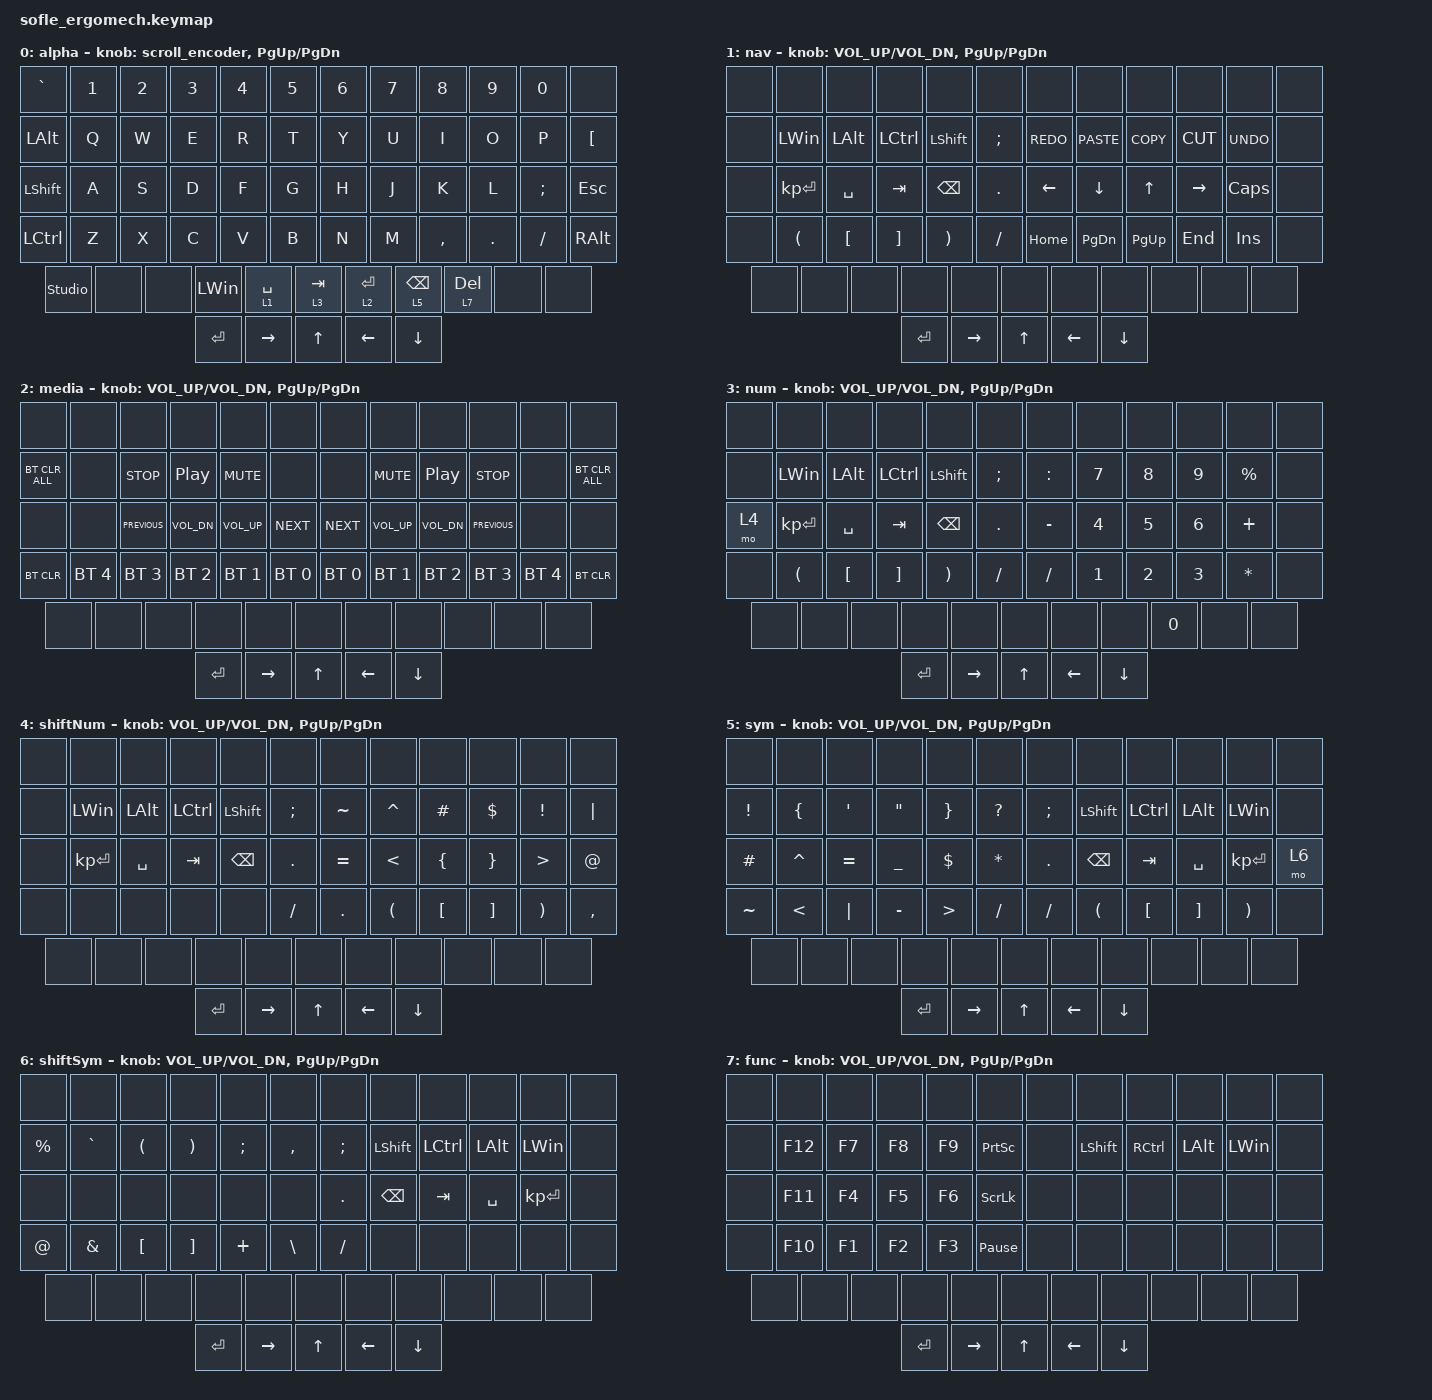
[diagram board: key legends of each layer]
/*
 * Copyright (c) 2020 The ZMK Contributors
 *
 * SPDX-License-Identifier: MIT
 * 
 */

#define ZMK_POINTING_DEFAULT_SCRL_VAL 100
#include <behaviors.dtsi>
#include <dt-bindings/zmk/bt.h>
#include <dt-bindings/zmk/ext_power.h>
#include <dt-bindings/zmk/keys.h>
#include <dt-bindings/zmk/rgb.h>
#include <dt-bindings/zmk/pointing.h>

&msc {
    time-to-max-speed-ms = <40>;
    acceleration-exponent = <0>;
};

/ {
    behaviors {
        scroll_encoder: scroll_encoder {
            compatible = "zmk,behavior-sensor-rotate";
            #sensor-binding-cells = <0>;
            bindings = <&msc SCRL_UP>, <&msc SCRL_DOWN>;
            tap-ms = <30>;
        };
    };
    keymap {
        compatible = "zmk,keymap";
        alpha {
            bindings = <
&kp GRAVE   &kp N1    &kp N2    &kp N3     &kp N4     &kp N5          &kp N6     &kp N7     &kp N8        &kp N9    &kp N0    &none
&kp LEFT_ALT    &kp Q  &kp W  &kp E         &kp R        &kp T        &kp Y        &kp U            &kp I         &kp O    &kp P     &kp LEFT_BRACKET
&kp LEFT_SHIFT  &kp A  &kp S  &kp D         &kp F        &kp G        &kp H        &kp J            &kp K         &kp L    &kp SEMI  &kp ESCAPE
&kp LCTRL       &kp Z  &kp X  &kp C         &kp V        &kp B        &kp N        &kp M            &kp COMMA     &kp DOT  &kp FSLH  &kp RIGHT_ALT
&studio_unlock  &none &none &kp LEFT_WIN  &lt 1 SPACE  &lt 3 TAB      &lt 2 ENTER  &lt 5 BACKSPACE  &lt 7 DELETE  &none &none
                                                                      &kp ENTER  &kp RIGHT  &kp UP_ARROW  &kp LEFT  &kp DOWN
            >;
            sensor-bindings = <&scroll_encoder &inc_dec_kp PG_UP PG_DN>;
        };
        nav {
            bindings = <
&none     &none     &none     &none    &none    &none     &none     &none    &none     &none     &none   &none
&none  &kp LEFT_WIN          &kp LEFT_ALT      &kp LCTRL          &kp LEFT_SHIFT         &kp SEMICOLON    &kp K_REDO  &kp K_PASTE     &kp K_COPY    &kp K_CUT        &kp K_UNDO    &none
&none  &kp KP_ENTER          &kp SPACE         &kp TAB            &kp BACKSPACE          &kp PERIOD       &kp LEFT    &kp DOWN_ARROW  &kp UP_ARROW  &kp RIGHT_ARROW  &kp CAPSLOCK  &none
&none  &kp LEFT_PARENTHESIS  &kp LEFT_BRACKET  &kp RIGHT_BRACKET  &kp RIGHT_PARENTHESIS  &kp SLASH        &kp HOME    &kp PAGE_DOWN   &kp PAGE_UP   &kp END          &kp INSERT    &none
&none &none     &none     &none     &none    &none    &none     &none     &none    &none     &none     
                                                &kp ENTER  &kp RIGHT  &kp UP_ARROW  &kp LEFT  &kp DOWN
            >;
            sensor-bindings = <&inc_dec_kp C_VOL_UP C_VOL_DN &inc_dec_kp PG_UP PG_DN>;
        };
        media {
            bindings = <
&none  &none  &none &none  &none  &none  &none     &none &none &none &none &none
&bt BT_CLR_ALL  &none         &kp C_STOP      &kp C_PLAY_PAUSE  &kp C_MUTE       &none           &none         &kp C_MUTE    &kp C_PLAY_PAUSE  &kp C_STOP      &none         &bt BT_CLR_ALL
&none           &none         &kp C_PREVIOUS  &kp C_VOL_DN      &kp C_VOLUME_UP  &kp C_NEXT      &kp C_NEXT    &kp C_VOLUME_UP  &kp C_VOL_DN   &kp C_PREVIOUS  &none         &none
&bt BT_CLR      &bt BT_SEL 4  &bt BT_SEL 3    &bt BT_SEL 2      &bt BT_SEL 1     &bt BT_SEL 0    &bt BT_SEL 0  &bt BT_SEL 1  &bt BT_SEL 2      &bt BT_SEL 3    &bt BT_SEL 4  &bt BT_CLR
&none &none &none &none &none &none &none &none &none &none &none
                  &kp ENTER  &kp RIGHT  &kp UP_ARROW  &kp LEFT  &kp DOWN
            >;
            sensor-bindings = <&inc_dec_kp C_VOL_UP C_VOL_DN &inc_dec_kp PG_UP PG_DN>;
        };
        num {
            bindings = <
&none &none &none &none &none &none &none &none &none &none &none &none
&none  &kp LEFT_WIN          &kp LEFT_ALT      &kp LCTRL          &kp LEFT_SHIFT         &kp SEMICOLON    &kp COLON  &kp NUMBER_7  &kp NUMBER_8  &kp NUMBER_9  &kp PERCENT   &none
&mo 4  &kp KP_ENTER          &kp SPACE         &kp TAB            &kp BACKSPACE          &kp PERIOD       &kp MINUS  &kp NUMBER_4  &kp NUMBER_5  &kp NUMBER_6  &kp PLUS      &none
&none  &kp LEFT_PARENTHESIS  &kp LEFT_BRACKET  &kp RIGHT_BRACKET  &kp RIGHT_PARENTHESIS  &kp SLASH        &kp SLASH  &kp NUMBER_1  &kp NUMBER_2  &kp NUMBER_3  &kp ASTERISK  &none
&none &none &none &none &none &none &none &none &kp NUMBER_0 &none &none
&kp ENTER  &kp RIGHT  &kp UP_ARROW  &kp LEFT  &kp DOWN
            >;
            sensor-bindings = <&inc_dec_kp C_VOL_UP C_VOL_DN &inc_dec_kp PG_UP PG_DN>;
        };
        shiftNum {
            bindings = <
&none &none &none &none &none &none &none &none &none &none &none &none
&none  &kp LEFT_WIN  &kp LEFT_ALT  &kp LCTRL  &kp LEFT_SHIFT  &kp SEMICOLON    &kp TILDE   &kp CARET             &kp HASH          &kp DOLLAR         &kp EXCLAMATION        &kp PIPE
&none  &kp KP_ENTER  &kp SPACE     &kp TAB    &kp BACKSPACE   &kp PERIOD       &kp EQUAL   &kp LESS_THAN         &kp LEFT_BRACE    &kp RIGHT_BRACE    &kp GREATER_THAN       &kp AT_SIGN
&none  &none         &none         &none      &none           &kp SLASH        &kp PERIOD  &kp LEFT_PARENTHESIS  &kp LEFT_BRACKET  &kp RIGHT_BRACKET  &kp RIGHT_PARENTHESIS  &kp COMMA
&none &none &none &none &none &none &none &none &none &none &none
&kp ENTER  &kp RIGHT  &kp UP_ARROW  &kp LEFT  &kp DOWN
            >;
            sensor-bindings = <&inc_dec_kp C_VOL_UP C_VOL_DN &inc_dec_kp PG_UP PG_DN>;
        };
        sym {
            bindings = <
&none &none &none &none &none &none &none &none &none &none &none &none
&kp EXCLAMATION  &kp LEFT_BRACE  &kp SQT    &kp DOUBLE_QUOTES  &kp RIGHT_BRACE   &kp QUESTION    &kp SEMICOLON  &kp LEFT_SHIFT        &kp LCTRL         &kp LEFT_ALT       &kp LEFT_WIN           &none
&kp HASH         &kp CARET       &kp EQUAL  &kp UNDERSCORE     &kp DOLLAR        &kp ASTERISK    &kp PERIOD     &kp BACKSPACE         &kp TAB           &kp SPACE          &kp KP_ENTER           &mo 6
&kp TILDE        &kp LESS_THAN   &kp PIPE   &kp MINUS          &kp GREATER_THAN  &kp SLASH       &kp SLASH      &kp LEFT_PARENTHESIS  &kp LEFT_BRACKET  &kp RIGHT_BRACKET  &kp RIGHT_PARENTHESIS  &none
&none &none &none &none &none &none &none &none &none &none &none
&kp ENTER  &kp RIGHT  &kp UP_ARROW  &kp LEFT  &kp DOWN
            >;
            sensor-bindings = <&inc_dec_kp C_VOL_UP C_VOL_DN &inc_dec_kp PG_UP PG_DN>;
        };
        shiftSym {
            bindings = <
&none &none &none &none &none &none &none &none &none &none &none &none
&kp PERCENT  &kp GRAVE      &kp LEFT_PARENTHESIS  &kp RIGHT_PARENTHESIS  &kp SEMICOLON  &kp COMMA        &kp SEMICOLON  &kp LEFT_SHIFT  &kp LCTRL  &kp LEFT_ALT  &kp LEFT_WIN  &none
&none        &none          &none                 &none                  &none          &none            &kp PERIOD     &kp BACKSPACE   &kp TAB    &kp SPACE     &kp KP_ENTER  &none
&kp AT_SIGN  &kp AMPERSAND  &kp LEFT_BRACKET      &kp RIGHT_BRACKET      &kp PLUS       &kp BACKSLASH    &kp SLASH      &none           &none      &none         &none         &none
&none &none &none &none &none &none &none &none &none &none &none
&kp ENTER  &kp RIGHT  &kp UP_ARROW  &kp LEFT  &kp DOWN
            >;
            sensor-bindings = <&inc_dec_kp C_VOL_UP C_VOL_DN &inc_dec_kp PG_UP PG_DN>;

        };

        func {
            bindings = <
&none &none &none &none &none &none &none &none &none &none &none &none
&none  &kp F12  &kp F7  &kp F8  &kp F9  &kp PRINTSCREEN    &none  &kp LEFT_SHIFT  &kp RCTRL  &kp LEFT_ALT  &kp LEFT_WIN  &none
&none  &kp F11  &kp F4  &kp F5  &kp F6  &kp SCROLLLOCK     &none  &none           &none      &none         &none         &none
&none  &kp F10  &kp F1  &kp F2  &kp F3  &kp PAUSE_BREAK    &none  &none           &none      &none         &none         &none
&none &none &none &none &none &none &none &none &none &none &none
&kp ENTER  &kp RIGHT  &kp UP_ARROW  &kp LEFT  &kp DOWN
            >;
            sensor-bindings = <&inc_dec_kp C_VOL_UP C_VOL_DN &inc_dec_kp PG_UP PG_DN>;
        };
    };
};
